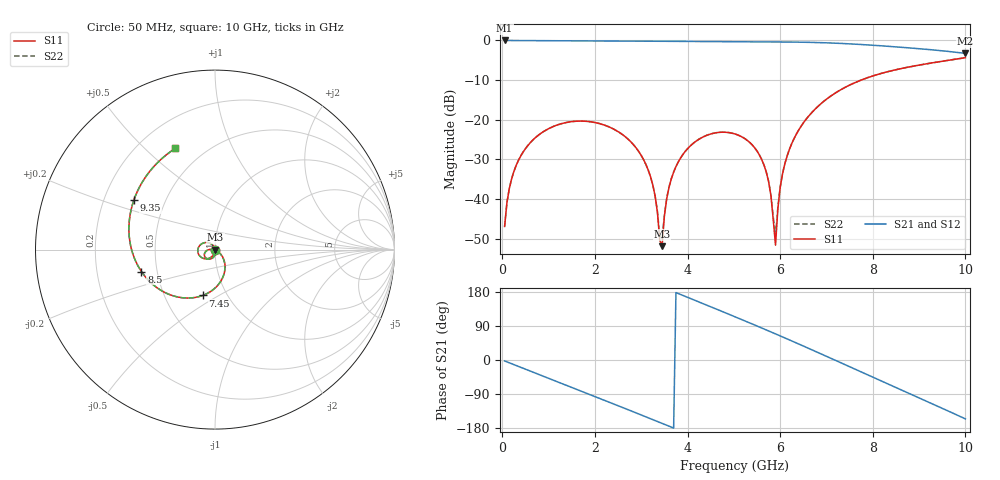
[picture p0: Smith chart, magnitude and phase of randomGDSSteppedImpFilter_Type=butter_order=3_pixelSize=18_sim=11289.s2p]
! freq	dB(S11)	phase(S11)	dB(S12)	phase(S12)
!  dB(S21)	phase(S21)	dB(S22)	phase(S22)
!S-par simulation data
#  GHz  S  DB  R 50
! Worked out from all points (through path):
!   200 points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, 50 MHz to 10 GHz, reference 50 ohm
!   highest |S21| = -0.01 dB at 50 MHz (marker M1); lowest = -3.3 dB at 10 GHz (marker M2)
!   group delay of S21, straight-line fit = 143 ps
!   lowest |S11| = -51.9 dB at 3.45 GHz (marker M3), VSWR 1.01, Z = 50.2 - j0.117 ohm
!   |S11| at or under -10 dB: start of sweep to 7.747 GHz
!   |S22| runs from -50.0 to -4.4 dB; largest |S21 - S12| = 0
!   S11 on the Smith chart (normalised r, x): 50 MHz: 1.00, -0.01; 7.45 GHz: 0.77, -0.42; 8.5 GHz: 0.41, -0.12; 9.35 GHz: 0.33, +0.25; 10 GHz: 0.35, +0.62
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0.05  -46.89 -91.5  -0.01 -2.5  -0.01 -2.5  -46.90 -91.5
0.2  -34.94 -99.4  -0.02 -9.7  -0.02 -9.7  -34.94 -99.4
0.5  -27.27 -114.3  -0.04 -24.3  -0.04 -24.3  -27.27 -114.3
1.75  -20.34 -175.6  -0.14 -84.3  -0.14 -84.3  -20.34 -175.8
2.95  -28.07 124.5  -0.18 -142.6  -0.18 -142.6  -28.07 123.6
3.25  -36.44 105.8  -0.19 -157.3  -0.19 -157.3  -36.42 103.1
3.4  -50.35 66.4  -0.20 -164.7  -0.20 -164.7  -49.10 56.3
3.45  -51.86 -27.1  -0.21 -167.2  -0.21 -167.2  -49.97 -19.9
3.6  -37.04 -77.7  -0.22 -174.6  -0.22 -174.6  -36.93 -74.5
3.85  -29.62 -94.1  -0.25 172.9  -0.25 172.9  -29.60 -92.5
5.05  -23.68 -155.2  -0.35 112.8  -0.35 112.8  -23.67 -154.3
5.65  -31.38 176.6  -0.37 82.0  -0.37 82.0  -31.35 178.9
5.8  -39.02 174.8  -0.37 74.2  -0.37 74.2  -38.85 -179.7
5.9  -51.60 -93.8  -0.38 69.0  -0.38 69.0  -49.06 -96.8
6  -37.13 -33.9  -0.38 63.7  -0.38 63.7  -37.00 -38.3
6.1  -31.16 -35.1  -0.39 58.4  -0.39 58.4  -31.12 -37.2
6.7  -17.97 -64.2  -0.50 26.1  -0.50 26.1  -17.96 -64.6
7.45  -11.54 -105.0  -0.83 -15.0  -0.83 -15.0  -11.54 -105.2
8.35  -7.80 -155.0  -1.49 -64.2  -1.49 -64.2  -7.80 -155.0
8.5  -7.38 -163.3  -1.62 -72.4  -1.62 -72.4  -7.38 -163.3
9.35  -5.53 148.7  -2.44 -119.0  -2.44 -119.0  -5.53 148.7
10  -4.35 111.3  -3.27 -155.4  -3.27 -155.4  -4.35 111.3
